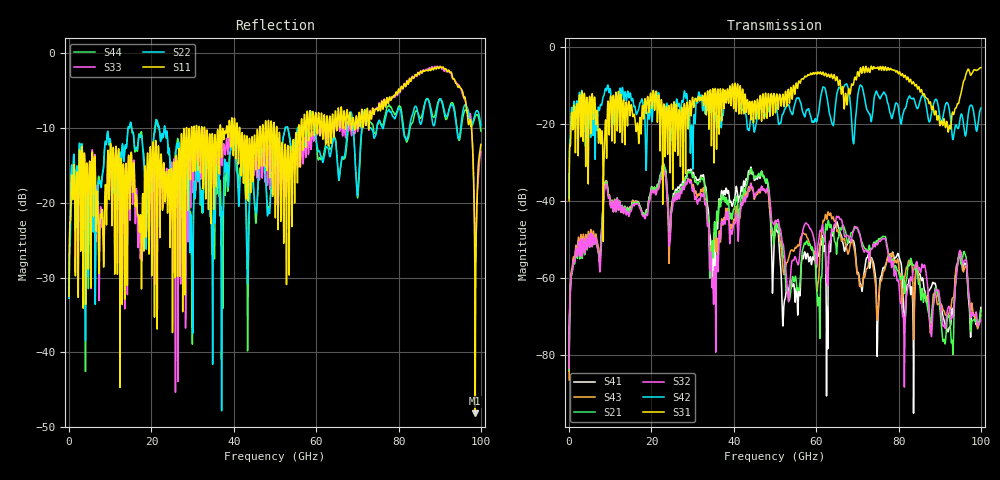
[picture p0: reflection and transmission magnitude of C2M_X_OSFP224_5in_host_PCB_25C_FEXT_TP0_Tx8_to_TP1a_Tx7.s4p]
# GHz S RI R 45
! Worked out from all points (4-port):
!   4000 points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, 25 MHz to 100 GHz, reference 45 ohm
!   strongest paths, dB at 25 MHz, 25.02 GHz, 50.02 GHz, 75.03 GHz, 100 GHz:
!     S31: -40.0, -17.8, -15.3, -5.3, -5.4
!     S42: -39.3, -21.2, -13.8, -12.5, -15.9
!     S32: -83.5, -42.6, -45.9, -51.1, -71.0
!     S21: -83.9, -42.1, -47.2, -50.4, -68.4
!     S43: -86.5, -40.9, -48.1, -68.8, -69.8
!     S41: -84.4, -40.4, -45.8, -70.0, -67.7
!   lowest |S11| = -48.2 dB at 98.62 GHz (marker M1), VSWR 1.01, Z = 45.1 - j0.344 ohm
!   |S11| at or under -10 dB: start of sweep to 28.5 GHz; 41.45 GHz to 46.33 GHz (4.877 GHz wide, 11.1 % of centre); 50.47 GHz to 55.72 GHz (5.243 GHz wide, 9.88 % of centre) (the widest 3 of 43)
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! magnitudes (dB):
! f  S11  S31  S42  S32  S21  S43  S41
! 25 MHz  -32.5  -40.0  -39.3  -83.5  -83.9  -86.5  -84.4
! 23.02 GHz  -14.6  -14.9  -15.8  -31.9  -30.6  -32.1  -30.6
! 35.2 GHz  -16.6  -30.2  -17.4  -60.5  -47.5  -49.7  -51.5
! 44.17 GHz  -16.6  -19.0  -18.7  -35.6  -31.6  -35.5  -31.2
! 52.15 GHz  -24.4  -14.8  -16.9  -52.3  -54.8  -59.1  -67.7
! 98.62 GHz  -48.2  -6.0  -20.0  -69.7  -71.4  -70.4  -70.9
! 100 GHz  -12.2  -5.4  -15.9  -71.0  -68.4  -69.8  -67.7
